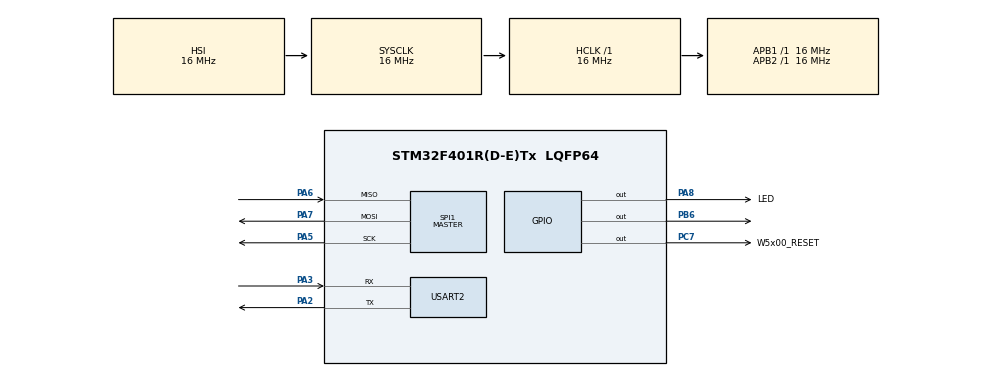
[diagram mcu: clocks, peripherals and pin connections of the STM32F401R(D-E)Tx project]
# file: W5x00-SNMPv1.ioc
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Mcu.Family=STM32F4
Mcu.Name=STM32F401R(D-E)Tx
Mcu.Package=LQFP64
NVIC.PriorityGroup=NVIC_PRIORITYGROUP_4
PA2.Mode=Asynchronous
PA2.Signal=USART2_TX
PA3.Mode=Asynchronous
PA3.Signal=USART2_RX
PA5.Mode=Full_Duplex_Master
PA5.Signal=SPI1_SCK
PA6.Mode=Full_Duplex_Master
PA6.Signal=SPI1_MISO
PA7.Mode=Full_Duplex_Master
PA7.Signal=SPI1_MOSI
PA8.GPIO_Label=LED
PA8.Signal=GPIO_Output
PB6.Signal=GPIO_Output
PC7.GPIO_Label=W5x00_RESET
PC7.Signal=GPIO_Output
ProjectManager.HeapSize=0x200
ProjectManager.StackSize=0x400
ProjectManager.TargetToolchain=TrueSTUDIO
RCC.AHBFreq_Value=16000000
RCC.APB1Freq_Value=16000000
RCC.APB2Freq_Value=16000000
RCC.CortexFreq_Value=16000000
RCC.HSE_VALUE=25000000
RCC.HSI_VALUE=16000000
RCC.LSE_VALUE=32768
RCC.SYSCLKFreq_VALUE=16000000
RCC.VCOOutputFreq_Value=192000000
SPI1.BaudRatePrescaler=SPI_BAUDRATEPRESCALER_16
SPI1.Direction=SPI_DIRECTION_2LINES
SPI1.Mode=SPI_MODE_MASTER
SPI1.VirtualType=VM_MASTER
USART2.VirtualMode=VM_ASYNC
board=custom

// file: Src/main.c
/* USER CODE BEGIN Header */
/**
  ******************************************************************************
  * @file           : main.c
  * @brief          : Main program body
  ******************************************************************************
  * @attention
  *
  * <h2><center>&copy; Copyright (c) 2019 STMicroelectronics.
  * All rights reserved.</center></h2>
  *
  * This software component is licensed by ST under BSD 3-Clause license,
  * the "License"; You may not use this file except in compliance with the
  * License. You may obtain a copy of the License at:
  *                        opensource.org/licenses/BSD-3-Clause
  *
  ******************************************************************************
  */
/* USER CODE END Header */

#include "main.h"

/* USER CODE BEGIN Includes */
#include "stdio.h"
#include "wizchip_conf.h"
#include "Internet/SNMP/snmp.h"

/* USER CODE END Includes */

/* USER CODE BEGIN PD */

#define DATA_BUF_SIZE	2048

//////////////////////////////////////////////////
// Socket & Port number definition for Examples //
//////////////////////////////////////////////////
#define SOCK_TCPS       0
#define SOCK_UDPS       1
#define PORT_TCPS       5000
#define PORT_UDPS       3000
#define SOCK_SNMP_AGENT 2
#define SOCK_SNMP_TRAP  3

///////////////////////////
// Demo Firmware Version //
///////////////////////////
#define VER_H   1
#define VER_L   00

/* USER CODE END PD */

SPI_HandleTypeDef hspi1;

UART_HandleTypeDef huart2;

/* USER CODE BEGIN PV */
wiz_NetInfo gWIZNETINFO = { .mac = {0x00,0x08,0xdc,0xff,0xee,0xdd},
							.ip = {192,168,0,130},
							.sn = {255,255,255,0},
							.gw = {192,168,0,254},
							//.dns = {168, 126, 63, 1},
							.dns = {8, 8, 8, 8},
							.dhcp = NETINFO_STATIC};
uint8_t ethBuf0[2048];
uint8_t RX_BUF[DATA_BUF_SIZE];
uint8_t TX_BUF[DATA_BUF_SIZE];
uint8_t socknumlist[] = {0, 1, 2, 3};
/* USER CODE END PV */

void SystemClock_Config(void);
static void MX_GPIO_Init(void);
static void MX_SPI1_Init(void);
static void MX_USART2_UART_Init(void);
/* USER CODE BEGIN PFP */
void print_network_information(void);
void wep_define_func(void);

int _write(int fd, char *str, int len)
{
	for(int i=0; i<len; i++)
	{
		HAL_UART_Transmit(&huart2, (uint8_t *)&str[i], 1, 0xFFFF);
	}
	return len;
}

/* USER CODE END PFP */

int main(void)
{
  /* USER CODE BEGIN 1 */

  uint8_t run_user_applications = 0;
  uint8_t tmpstr[6] = {0,};
  /* USER CODE END 1 */

  /* MCU Configuration--------------------------------------------------------*/

  /* Reset of all peripherals, Initializes the Flash interface and the Systick. */
  HAL_Init();

  /* Configure the system clock */
  SystemClock_Config();

  /* Initialize all configured peripherals */
  MX_GPIO_Init();
  MX_SPI1_Init();
  MX_USART2_UART_Init();
  /* USER CODE BEGIN 2 */

  printf("\t - W5x00 Project - \r\n");
  resetAssert();
  HAL_Delay(300);
  resetDeassert();
  HAL_Delay(300);
  printf("\t - WizChip Init - \r\n");

  WIZCHIPInitialize();
#if _WIZCHIP_ == W5100
  HAL_Delay(3000);
#endif
#if _WIZCHIP_ == W5100S
  printf("version:%.2x\r\n", getVER());
  printf("TMSR:%.2x\r\n", getTMSR());
  //NETUNLOCK();
#endif

#if _WIZCHIP_ == W5200  ||  _WIZCHIP_ == W5500
  printf("version:%.2x\r\n", getVERSIONR());
#endif

  wizchip_setnetinfo(&gWIZNETINFO);
  print_network_information();

  /* Flag for running user's code  */
  run_user_applications = 1;

  ctlwizchip(CW_GET_ID,(void*)tmpstr);

  printf("\r\n=======================================\r\n");
  printf(" WIZnet %s EVB Demos v%d.%.2d\r\n", tmpstr, VER_H, VER_L);
  printf("=======================================\r\n");
  printf(">> W5x00 SNMPv1 Agent Example\r\n");
  printf("=======================================\r\n");

  /* SNMP(Simple Network Management Protocol) Agent Initialize */
  uint8_t manager_ip[4] = {192, 168, 0, 232}; // NMS (SNMP manager) IP address
  snmpd_init(manager_ip, gWIZNETINFO.ip, SOCK_SNMP_AGENT, SOCK_SNMP_TRAP);

  /* USER CODE END 2 */

  /* Infinite loop */
  /* USER CODE BEGIN WHILE */
  while (1)
  {

    // TODO: insert user's code here
    if(run_user_applications)
    {
      /* Loopback Test: TCP Server and UDP */
      // Test for Ethernet data transfer validation
      {
      //loopback_tcps(SOCK_TCPS, DATA_BUF, PORT_TCPS);
      //loopback_udps(SOCK_UDPS, DATA_BUF, PORT_UDPS);
      //loopback_ret = loopback_tcpc(SOCK_TCPS, DATA_BUF, destip, destport);

      //if(loopback_ret < 0) printf("loopback ret: %ld\r\n", loopback_ret); // TCP Socket Error code
      }

      /* SNMP Agent Handler */
      // SNMP Agent daemon process : User can add the OID and OID mapped functions to snmpData[] array in snmprun.c/.h
      // [net-snmp version 5.7 package for windows] is used for this demo.
      // * Command example
      // [Command] Get:     snmpget -v 1 -c public 192.168.0.112 .1.3.6.1.2.1.1.1.0       // (sysDescr)
      // [Command] Get:       snmpget -v 1 -c public 192.168.0.112 .1.3.6.1.4.1.6.1.0       // (Custom, get LED status)
      // [Command] Get-Next:    snmpwalk -v 1 -c public 192.168.0.112 .1.3.6.1
      // [Command] Set:       snmpset -v 1 -c public 192.168.0.112 .1.3.6.1.4.1.6.2.0 i 1     // (Custom, LED 'On')
      // [Command] Set:       snmpset -v 1 -c public 192.168.0.112 .1.3.6.1.4.1.6.2.0 i 0     // (Custom, LED 'Off')

      snmpd_run();

    } // End of user's code

    /* USER CODE END WHILE */

  }
}

void SystemClock_Config(void)
{
  RCC_OscInitTypeDef RCC_OscInitStruct = {0};
  RCC_ClkInitTypeDef RCC_ClkInitStruct = {0};

  /** Configure the main internal regulator output voltage
  */
  __HAL_RCC_PWR_CLK_ENABLE();
  __HAL_PWR_VOLTAGESCALING_CONFIG(PWR_REGULATOR_VOLTAGE_SCALE2);
  /** Initializes the CPU, AHB and APB busses clocks
  */
  RCC_OscInitStruct.OscillatorType = RCC_OSCILLATORTYPE_HSI;
  RCC_OscInitStruct.HSIState = RCC_HSI_ON;
  RCC_OscInitStruct.HSICalibrationValue = RCC_HSICALIBRATION_DEFAULT;
  RCC_OscInitStruct.PLL.PLLState = RCC_PLL_NONE;
  if (HAL_RCC_OscConfig(&RCC_OscInitStruct) != HAL_OK)
  {
    Error_Handler();
  }
  /** Initializes the CPU, AHB and APB busses clocks
  */
  RCC_ClkInitStruct.ClockType = RCC_CLOCKTYPE_HCLK|RCC_CLOCKTYPE_SYSCLK
                              |RCC_CLOCKTYPE_PCLK1|RCC_CLOCKTYPE_PCLK2;
  RCC_ClkInitStruct.SYSCLKSource = RCC_SYSCLKSOURCE_HSI;
  RCC_ClkInitStruct.AHBCLKDivider = RCC_SYSCLK_DIV1;
  RCC_ClkInitStruct.APB1CLKDivider = RCC_HCLK_DIV1;
  RCC_ClkInitStruct.APB2CLKDivider = RCC_HCLK_DIV1;

  if (HAL_RCC_ClockConfig(&RCC_ClkInitStruct, FLASH_LATENCY_0) != HAL_OK)
  {
    Error_Handler();
  }
}

static void MX_SPI1_Init(void)
{

  /* SPI1 parameter configuration*/
  hspi1.Instance = SPI1;
  hspi1.Init.Mode = SPI_MODE_MASTER;
  hspi1.Init.Direction = SPI_DIRECTION_2LINES;
  hspi1.Init.DataSize = SPI_DATASIZE_8BIT;
  hspi1.Init.CLKPolarity = SPI_POLARITY_LOW;
  hspi1.Init.CLKPhase = SPI_PHASE_1EDGE;
  hspi1.Init.NSS = SPI_NSS_SOFT;
  hspi1.Init.BaudRatePrescaler = SPI_BAUDRATEPRESCALER_16;
  hspi1.Init.FirstBit = SPI_FIRSTBIT_MSB;
  hspi1.Init.TIMode = SPI_TIMODE_DISABLE;
  hspi1.Init.CRCCalculation = SPI_CRCCALCULATION_DISABLE;
  hspi1.Init.CRCPolynomial = 10;
  if (HAL_SPI_Init(&hspi1) != HAL_OK)
  {
    Error_Handler();
  }

}

static void MX_USART2_UART_Init(void)
{

  huart2.Instance = USART2;
  huart2.Init.BaudRate = 115200;
  huart2.Init.WordLength = UART_WORDLENGTH_8B;
  huart2.Init.StopBits = UART_STOPBITS_1;
  huart2.Init.Parity = UART_PARITY_NONE;
  huart2.Init.Mode = UART_MODE_TX_RX;
  huart2.Init.HwFlowCtl = UART_HWCONTROL_NONE;
  huart2.Init.OverSampling = UART_OVERSAMPLING_16;
  if (HAL_UART_Init(&huart2) != HAL_OK)
  {
    Error_Handler();
  }

}

static void MX_GPIO_Init(void)
{
  GPIO_InitTypeDef GPIO_InitStruct = {0};

  /* GPIO Ports Clock Enable */
  __HAL_RCC_GPIOA_CLK_ENABLE();
  __HAL_RCC_GPIOC_CLK_ENABLE();
  __HAL_RCC_GPIOB_CLK_ENABLE();

  /*Configure GPIO pin Output Level */
  HAL_GPIO_WritePin(W5x00_RESET_GPIO_Port, W5x00_RESET_Pin, GPIO_PIN_RESET);

  /*Configure GPIO pin Output Level */
  HAL_GPIO_WritePin(LED_GPIO_Port, LED_Pin, GPIO_PIN_RESET);

  /*Configure GPIO pin Output Level */
  HAL_GPIO_WritePin(GPIOB, GPIO_PIN_6, GPIO_PIN_RESET);

  /*Configure GPIO pin : W5x00_RESET_Pin */
  GPIO_InitStruct.Pin = W5x00_RESET_Pin;
  GPIO_InitStruct.Mode = GPIO_MODE_OUTPUT_PP;
  GPIO_InitStruct.Pull = GPIO_NOPULL;
  GPIO_InitStruct.Speed = GPIO_SPEED_FREQ_LOW;
  HAL_GPIO_Init(W5x00_RESET_GPIO_Port, &GPIO_InitStruct);

  /*Configure GPIO pin : LED_Pin */
  GPIO_InitStruct.Pin = LED_Pin;
  GPIO_InitStruct.Mode = GPIO_MODE_OUTPUT_PP;
  GPIO_InitStruct.Pull = GPIO_NOPULL;
  GPIO_InitStruct.Speed = GPIO_SPEED_FREQ_LOW;
  HAL_GPIO_Init(LED_GPIO_Port, &GPIO_InitStruct);

  /*Configure GPIO pin : PB6 */
  GPIO_InitStruct.Pin = GPIO_PIN_6;
  GPIO_InitStruct.Mode = GPIO_MODE_OUTPUT_PP;
  GPIO_InitStruct.Pull = GPIO_NOPULL;
  GPIO_InitStruct.Speed = GPIO_SPEED_FREQ_LOW;
  HAL_GPIO_Init(GPIOB, &GPIO_InitStruct);

}

/* USER CODE BEGIN 4 */
void print_network_information(void)
{
	wizchip_getnetinfo(&gWIZNETINFO);
	printf("Mac address: %02x:%02x:%02x:%02x:%02x:%02x\n\r",gWIZNETINFO.mac[0],gWIZNETINFO.mac[1],gWIZNETINFO.mac[2],gWIZNETINFO.mac[3],gWIZNETINFO.mac[4],gWIZNETINFO.mac[5]);
	printf("IP address : %d.%d.%d.%d\n\r",gWIZNETINFO.ip[0],gWIZNETINFO.ip[1],gWIZNETINFO.ip[2],gWIZNETINFO.ip[3]);
	printf("SM Mask	   : %d.%d.%d.%d\n\r",gWIZNETINFO.sn[0],gWIZNETINFO.sn[1],gWIZNETINFO.sn[2],gWIZNETINFO.sn[3]);
	printf("Gate way   : %d.%d.%d.%d\n\r",gWIZNETINFO.gw[0],gWIZNETINFO.gw[1],gWIZNETINFO.gw[2],gWIZNETINFO.gw[3]);
	printf("DNS Server : %d.%d.%d.%d\n\r",gWIZNETINFO.dns[0],gWIZNETINFO.dns[1],gWIZNETINFO.dns[2],gWIZNETINFO.dns[3]);
}

/* USER CODE END 4 */

void Error_Handler(void)
{
}

/************************ (C) COPYRIGHT STMicroelectronics *****END OF FILE****/
